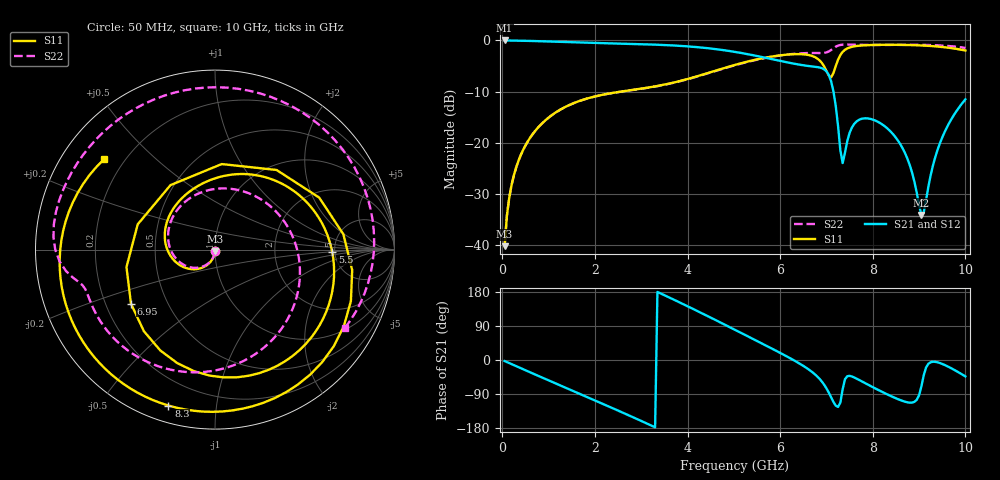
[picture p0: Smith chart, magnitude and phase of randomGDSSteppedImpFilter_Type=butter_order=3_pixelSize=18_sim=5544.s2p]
! freq	dB(S11)	phase(S11)	dB(S12)	phase(S12)
!  dB(S21)	phase(S21)	dB(S22)	phase(S22)
!S-par simulation data
#  GHz  S  DB  R 50
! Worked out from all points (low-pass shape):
!   200 points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, 50 MHz to 10 GHz, reference 50 ohm
!   highest |S21| = -0.01 dB at 50 MHz (marker M1); lowest = -34.1 dB at 9.05 GHz (marker M2)
!   |S21| within 3 dB of the highest: start of sweep to 5.478 GHz
!   lowest |S11| = -40.2 dB at 50 MHz (marker M3), VSWR 1.02, Z = 50 - j0.971 ohm
!   |S11| at or under -10 dB: start of sweep to 2.565 GHz
!   |S22| runs from -40.2 to -0.8 dB; largest |S21 - S12| = 0
!   S11 on the Smith chart (normalised r, x): 50 MHz: 1.00, -0.02; 5.5 GHz: 4.76, -0.20; 6.95 GHz: 0.31, -0.27; 8.3 GHz: 0.08, -0.74; 10 GHz: 0.13, +0.35
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0.05  -40.24 -92.2  -0.01 -2.8  -0.01 -2.8  -40.21 -92.3
0.2  -28.28 -100.5  -0.02 -10.9  -0.02 -10.9  -28.29 -101.3
0.5  -20.54 -116.5  -0.07 -27.0  -0.07 -27.0  -20.55 -118.6
1.75  -11.58 -178.9  -0.42 -93.5  -0.42 -93.5  -11.60 170.2
2.65  -9.89 140.1  -0.65 -141.6  -0.65 -141.6  -9.91 115.1
3.4  -8.82 107.7  -0.86 176.8  -0.86 176.8  -8.86 64.2
4.3  -6.76 66.1  -1.39 124.0  -1.39 124.0  -6.81 0.6
5.05  -4.72 25.5  -2.28 78.1  -2.28 78.1  -4.79 -50.0
5.5  -3.70 -1.0  -3.05 50.2  -3.05 50.2  -3.77 -78.9
6.15  -2.77 -42.6  -4.29 9.1  -4.29 9.1  -2.77 -119.0
6.7  -3.07 -92.5  -5.10 -32.7  -5.10 -32.7  -2.46 -151.3
6.95  -5.09 -147.3  -5.65 -65.2  -5.65 -65.2  -2.43 -163.1
7.05  -6.88 161.9  -6.76 -86.1  -6.76 -86.1  -2.15 -166.7
7.15  -6.41 85.5  -9.93 -110.6  -9.93 -110.6  -1.53 -171.8
7.35  -2.24 -8.5  -23.99 -77.1  -23.99 -77.1  -0.83 171.2
7.7  -1.04 -63.4  -15.54 -52.3  -15.54 -52.3  -0.87 144.5
8.3  -0.85 -106.6  -17.09 -90.0  -17.09 -90.0  -0.88 100.7
8.35  -0.85 -109.6  -17.50 -92.8  -17.50 -92.8  -0.88 97.0
8.75  -0.89 -132.9  -23.18 -111.7  -23.18 -111.7  -0.86 66.1
9.05  -0.98 -150.6  -34.11 -69.7  -34.11 -69.7  -0.87 42.4
9.45  -1.24 -176.4  -20.10 -8.0  -20.10 -8.0  -0.98 10.7
10  -1.97 140.6  -11.51 -43.3  -11.51 -43.3  -1.46 -31.1
